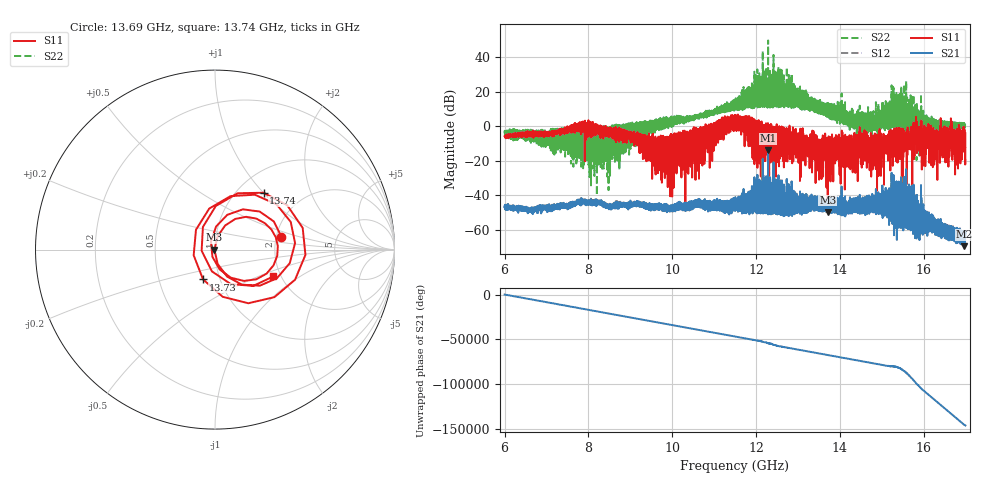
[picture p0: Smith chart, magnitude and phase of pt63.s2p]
#  HZ  S  RI  R  50.00
! Rohde & Schwarz Vector Network Analyzer
! Rohde-Schwarz,ZNA67-2Port,1332450062101215,3.01
! Created: UTC 10/16/2026, 1:19:39 PM
! freq[Hz]  re:S11  im:S11  re:S21  im:S21  re:S12  im:S12  re:S22  im:S22
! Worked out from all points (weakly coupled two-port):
!   11001 points, 6 GHz to 17 GHz, reference 50 ohm
!   highest |S21| = -13.94 dB at 12.29 GHz (marker M1); lowest = -69.7 dB at 16.97 GHz (marker M2)
!   lowest |S11| = -49.8 dB at 13.71 GHz (marker M3), VSWR 1.01, Z = 49.7 - j0.0433 ohm
!   |S11| at or under -10 dB: 13.52809 GHz to 13.56805 GHz (39.96 MHz wide, 0.295 % of centre); 13.61254 GHz to 13.64721 GHz (34.68 MHz wide, 0.254 % of centre); 13.93513 GHz to 13.96259 GHz (27.46 MHz wide, 0.197 % of centre) (the widest 3 of 481)
!   |S22| runs from -40.1 to 49.7 dB; largest |S21 - S12| = 0.01
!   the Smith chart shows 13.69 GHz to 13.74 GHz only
!   S11 on the Smith chart (normalised r, x): 13.69 GHz: 2.13, +0.36; 13.73 GHz: 0.83, -0.29; 13.74 GHz: 1.31, +1.00; 13.74 GHz: 1.82, -0.63
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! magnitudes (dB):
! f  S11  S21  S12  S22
! 6 GHz  -6.0  -47.2  -47.1  -4.2
! 6.645 GHz  -3.9  -48.7  -48.7  -2.3
! 7.834 GHz  -0.9  -42.0  -41.9  -1.1
! 8.488 GHz  -3.4  -45.7  -45.5  -1.6
! 9.667 GHz  -6.6  -46.4  -46.6  3.8
! 10.68 GHz  -0.6  -47.2  -47.2  6.2
! 11.5 GHz  6.5  -47.1  -47.1  11.3
! 12.29 GHz  -7.9  -13.9  -13.7  49.7
! 13.33 GHz  -8.4  -47.1  -47.0  11.3
! 13.69 GHz  -8.5  -43.0  -43.1  10.7
! 13.71 GHz  -49.8  -44.7  -44.6  8.7
! 13.73 GHz  -14.9  -45.5  -45.4  9.9
! 13.74 GHz  -7.6  -44.0  -43.8  9.3
! 13.74 GHz  -8.9  -50.0  -49.9  5.8
! 14.62 GHz  -9.7  -46.3  -46.2  0.9
! 14.84 GHz  -4.4  -44.3  -44.3  0.9
! 15.17 GHz  -11.9  -46.2  -46.2  5.7
! 15.68 GHz  -8.5  -47.0  -46.7  3.8
! 15.8 GHz  -2.5  -51.8  -51.7  1.5
! 16.19 GHz  -8.9  -57.3  -57.0  -0.5
! 16.97 GHz  -3.3  -69.7  -69.5  -0.9
! 17 GHz  -4.2  -63.1  -62.7  1.1
